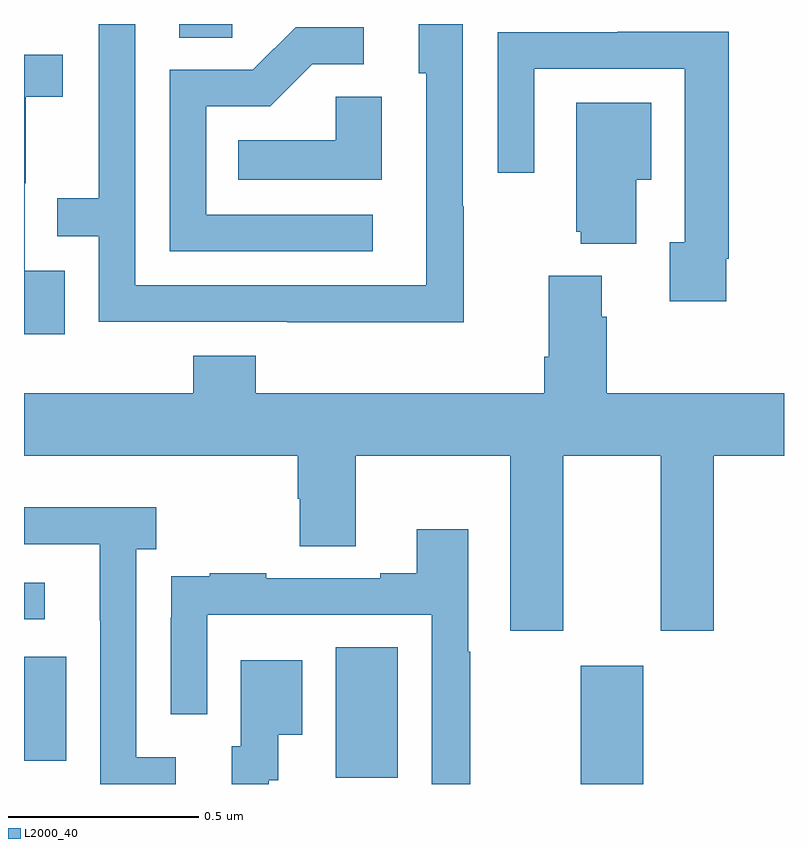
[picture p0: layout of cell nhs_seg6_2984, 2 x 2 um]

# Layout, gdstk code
import gdstk
lib = gdstk.Library(unit=1e-6, precision=1e-09)
def R(c, l, rs):  # rectangles x0, y0, x1, y1
    for r in rs: c.add(gdstk.rectangle(r[:2], r[2:], *l))
def P(c, l, *ps):  # polygons
    for p in ps: c.add(gdstk.Polygon(p, *l))
L2000_40 = (2000, 40)

nhs_seg6_2984 = lib.new_cell('nhs_seg6_2984')
R(nhs_seg6_2984, L2000_40, [(152.465,918.5,152.629,918.811), (151.82,918.517,151.984,918.86), (151,918.561,151.111,918.835), (151,918.933,151.054,919.029), (151.409,920.464,151.548,920.5)])
P(nhs_seg6_2984, L2000_40, [(152.157,920.021),(152.154,920.021),(152.154,920.5),(152.039,920.5),(152.039,920.37),(152.058,920.37),(152.058,919.812),(151.293,919.812),(151.293,920.5),(151.197,920.5),(151.197,920.042),(151.087,920.042),(151.087,919.941),(151.197,919.941),(151.197,919.716),(151.693,919.716),(151.693,919.715),(152.157,919.715)],
  [(151.918,919.998),(151.479,919.998),(151.479,920.283),(151.648,920.283),(151.759,920.394),(151.894,920.394),(151.894,920.492),(151.715,920.492),(151.602,920.379),(151.383,920.379),(151.383,919.902),(151.918,919.902)],
  [(152.848,919.882),(152.855,919.882),(152.855,920.48),(152.563,920.48),(152.563,920.478),(152.247,920.478),(152.247,920.109),(152.343,920.109),(152.343,920.382),(152.739,920.382),(152.739,919.926),(152.699,919.926),(152.699,919.77),(152.848,919.77)],
  [(151.107,919.851),(151.002,919.851),(151.002,920.081),(151.004,920.081),(151.004,920.309),(151.102,920.309),(151.102,920.419),(151,920.419),(151,919.683),(151.107,919.683)],
  [(151.942,920.309),(151.821,920.309),(151.821,920.194),(151.564,920.194),(151.564,920.09),(151.942,920.09)],
  [(152.611,920.09),(152.65,920.09),(152.65,920.293),(152.453,920.293),(152.453,919.953),(152.465,919.953),(152.465,919.922),(152.611,919.922)],
  [(152.419,919.364),(152.675,919.364),(152.675,918.903),(152.815,918.903),(152.815,919.364),(153,919.364),(153,919.528),(152.534,919.528),(152.534,919.73),(152.521,919.73),(152.521,919.837),(152.381,919.837),(152.381,919.624),(152.369,919.624),(152.369,919.528),(151.61,919.528),(151.61,919.627),(151.445,919.627),(151.445,919.528),(151,919.528),(151,919.364),(151.721,919.364),(151.721,919.251),(151.726,919.251),(151.726,919.126),(151.873,919.126),(151.873,919.364),(152.279,919.364),(152.279,918.903),(152.419,918.903)],
  [(151.399,918.57),(151.296,918.57),(151.296,919.118),(151.348,919.118),(151.348,919.228),(151,919.228),(151,919.131),(151.199,919.131),(151.199,918.931),(151.2,918.931),(151.2,918.5),(151.399,918.5)],
  [(152.174,918.848),(152.169,918.848),(152.169,919.171),(152.033,919.171),(152.033,919.054),(151.937,919.054),(151.937,919.041),(151.637,919.041),(151.637,919.054),(151.489,919.054),(151.489,919.047),(151.387,919.047),(151.387,918.938),(151.386,918.938),(151.386,918.684),(151.482,918.684),(151.482,918.945),(152.073,918.945),(152.073,918.5),(152.174,918.5)],
  [(151.644,918.51),(151.669,918.51),(151.669,918.629),(151.732,918.629),(151.732,918.826),(151.571,918.826),(151.571,918.6),(151.547,918.6),(151.547,918.5),(151.644,918.5)])

lib.write_gds('nhs_seg6_2984.gds')
